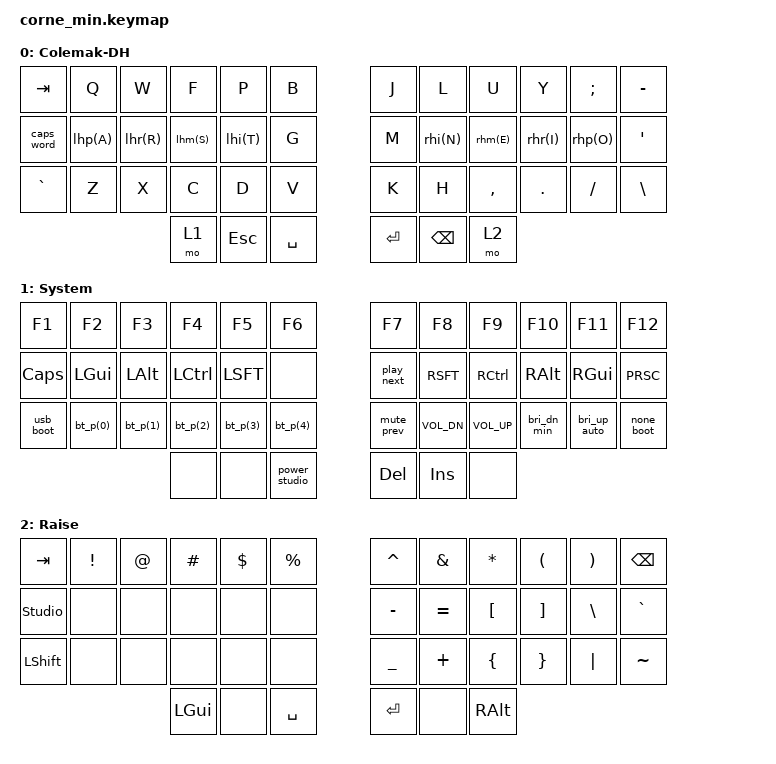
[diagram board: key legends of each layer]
/*
 * Copyright (c) 2026 Jacob Birkett
 * Copyright (c) 2024 MechboardsLTD
 * Copyright (c) 2020 The ZMK Contributors
 *
 * SPDX-License-Identifier: MIT
 */

#define ENABLED 1

#include <behaviors.dtsi>
#include <dt-bindings/zmk/keys.h>
#include <dt-bindings/zmk/bt.h>
#include <dt-bindings/zmk/outputs.h>

/* standard 42-key Corne positions (index = order in keymap bindings) */
#define KEYS_L  0  1  2  3  4  5  12 13 14 15 16 17  24 25 26 27 28 29  36 37 38
#define KEYS_R  6  7  8  9 10 11  18 19 20 21 22 23  30 31 32 33 34 35  39 40 41


#define FUNCTION_HOLD_MS       400
#define COMPLEMENT_REPRESS_MS  300
#define DELIBERATE_HOLD_MS    1000

#include "complements.dtsi"

/* hold duration before BT profile clear fires (long to prevent accidental re-pair) */
#define BT_CLEAR_HOLD_MS    DELIBERATE_HOLD_MS

#include "bt_profile.dtsi"

/* activate shift the moment the home key is depressed, emit a character if not held */
#define HOME_INSTANT_SHIFT    ENABLED

#include "hrm.dtsi"


/* For left-half system layer: tap sets output to USB, or long-hold to enter bootloader */
COMPLEMENT_HOLD(usb_boot, &out OUT_USB, &bootloader, DELIBERATE_HOLD_MS)

/* For right-half system layer: long-hold to enter bootloader */
COMPLEMENT_HOLD(none_boot, &none, &bootloader, DELIBERATE_HOLD_MS)

/ {
    keymap {
        compatible = "zmk,keymap";

        default_layer {
            display-name = "Colemak-DH";
/*
    Colemak Mod-DH customized by spikespaz
    |  TAB |  Q  |  W  |  F  |  P  |  B  |      |  J  |  L   |  U  |  Y  |  ;  |  -  |
    | CAPSW|  A  |  R  |  S  |  T  |  G  |      |  M  |  N   |  E  |  I  |  O  |  '  |
    |   `  |  Z  |  X  |  C  |  D  |  V  |      |  K  |  H   |  ,  |  .  |  /  |  \  |
                       | SYS | ESC | SPC |      | ENT | BSPC | RSE |
*/
            bindings = <
    &kp TAB     &kp Q      &kp W      &kp F      &kp P      &kp B           &kp J     &kp L      &kp U      &kp Y      &kp SEMI   &kp MINUS
    &caps_word  &lhp(A)    &lhr(R)    &lhm(S)    &lhi(T)    &kp G           &kp M     &rhi(N)    &rhm(E)    &rhr(I)    &rhp(O)    &kp SQT
    &kp GRAVE   &kp Z      &kp X      &kp C      &kp D      &kp V           &kp K     &kp H      &kp COMMA  &kp DOT    &kp FSLH   &kp BSLH
    /*          |          |        */&mo 1      &kp ESC    &kp SPACE       &kp RET   &kp BSPC   &mo 2
            >;
        };

        system_layer {
            display-name = "System";
/*
    |  F1    |  F2 |  F3 |  F4 |  F5 |  F6  |      |   F7  |  F8 |  F9 | F10 | F11 |  F12 |
    | CAPS   | GUI | ALT | CTL | SFT |      |      |PLY/NXT| SFT | CTL | ALT | GUI | PRSC |
    | USB/BL | BT1 | BT2 | BT3 | BT4 | BT5  |      |MUT/PRV| VO- | VO+ | BR- | BR+ | BOOT |
                         |     |     |PWR/ST|      | DEL   | INS |     |
*/
            bindings = <
    &kp F1        &kp F2       &kp F3       &kp F4       &kp F5       &kp F6            &kp F7      &kp F8        &kp F9        &kp F10      &kp F11       &kp F12
    &kp CAPS      &kp LGUI     &kp LALT     &kp LCTL     &kp LSFT     &none             &play_next  &kp RSFT      &kp RCTL      &kp RALT     &kp RGUI      &kp PRSC
    &usb_boot     &bt_p(0)     &bt_p(1)     &bt_p(2)     &bt_p(3)     &bt_p(4)          &mute_prev  &kp C_VOL_DN  &kp C_VOL_UP  &bri_dn_min  &bri_up_auto  &none_boot
    /*            |            |          */&none        &none        &power_studio     &kp DEL     &kp INS       &none
            >;
        };

        raise_layer {
            display-name = "Raise";
/*
    |  TAB |  !  |  @  |  #  |  $  |  %  |      |  ^  |  &  |  *  |  (  |  )  | BSPC |
    | CTRL |     |     |     |     |     |      |  -  |  =  |  [  |  ]  |  \  |  `   |
    | SHFT |     |     |     |     |     |      |  _  |  +  |  {  |  }  | "|" |  ~   |
                       | GUI |     | SPC |      | ENT |     | ALT |
*/
            bindings = <
    &kp  TAB       &kp EXCL &kp AT    &kp HASH  &kp DLLR  &kp PRCNT       &kp CARET   &kp AMPS   &kp ASTRK  &kp LPAR   &kp RPAR   &kp BSPC
    &studio_unlock &none    &none     &none     &none     &none           &kp MINUS   &kp EQUAL  &kp LBKT   &kp RBKT   &kp BSLH   &kp GRAVE
    &kp LSHFT      &none    &none     &none     &none     &none           &kp UNDER   &kp PLUS   &kp LBRC   &kp RBRC   &kp PIPE   &kp TILDE
    /*             |        |       */&kp LGUI  &none     &kp SPACE       &kp RET     &none      &kp RALT
            >;
        };

        extra1 {
            display-name = "Extra-1";
            status = "reserved";
        };

        extra2 {
            display-name = "Extra-2";
            status = "reserved";
        };

        extra3 {
            display-name = "Extra-3";
            status = "reserved";
        };
    };
};
